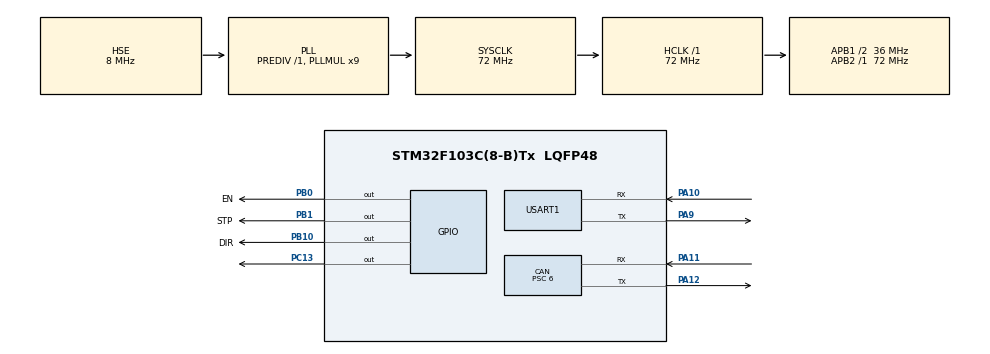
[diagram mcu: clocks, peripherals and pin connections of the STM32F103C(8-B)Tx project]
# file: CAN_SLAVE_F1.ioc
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CAN.BS1=CAN_BS1_2TQ
CAN.BS2=CAN_BS2_3TQ
CAN.CalculateBaudRate=999999
CAN.CalculateTimeBit=1000
CAN.CalculateTimeQuantum=166.66666666666669
CAN.Prescaler=6
Mcu.Family=STM32F1
Mcu.Name=STM32F103C(8-B)Tx
Mcu.Package=LQFP48
NVIC.PriorityGroup=NVIC_PRIORITYGROUP_4
NVIC.TIM2_IRQn=true\:0\:0\:false\:false\:true\:true\:true\:true
NVIC.USART1_IRQn=true\:0\:0\:false\:false\:true\:true\:true\:true
NVIC.USB_LP_CAN1_RX0_IRQn=true\:0\:0\:false\:false\:true\:true\:true\:true
PA0-WKUP.Mode=SYS_WakeUp0
PA0-WKUP.Signal=SYS_WKUP
PA10.Mode=Asynchronous
PA10.Signal=USART1_RX
PA11.Mode=CAN_Activate
PA11.Signal=CAN_RX
PA12.Mode=CAN_Activate
PA12.Signal=CAN_TX
PA13.Mode=Serial_Wire
PA13.Signal=SYS_JTMS-SWDIO
PA14.Mode=Serial_Wire
PA14.Signal=SYS_JTCK-SWCLK
PA9.Mode=Asynchronous
PA9.Signal=USART1_TX
PB0.GPIO_Label=EN
PB0.GPIO_PuPd=GPIO_PULLDOWN
PB0.Signal=GPIO_Output
PB1.GPIO_Label=STP
PB1.GPIO_PuPd=GPIO_PULLDOWN
PB1.Signal=GPIO_Output
PB10.GPIO_Label=DIR
PB10.GPIO_PuPd=GPIO_PULLDOWN
PB10.Signal=GPIO_Output
PC13-TAMPER-RTC.Signal=GPIO_Output
PC14-OSC32_IN.Mode=LSE-External-Oscillator
PC14-OSC32_IN.Signal=RCC_OSC32_IN
PC15-OSC32_OUT.Mode=LSE-External-Oscillator
PC15-OSC32_OUT.Signal=RCC_OSC32_OUT
PD0-OSC_IN.Mode=HSE-External-Oscillator
PD0-OSC_IN.Signal=RCC_OSC_IN
PD1-OSC_OUT.Mode=HSE-External-Oscillator
PD1-OSC_OUT.Signal=RCC_OSC_OUT
ProjectManager.HeapSize=0x200
ProjectManager.StackSize=0x400
ProjectManager.TargetToolchain=STM32CubeIDE
RCC.AHBFreq_Value=72000000
RCC.APB1CLKDivider=RCC_HCLK_DIV2
RCC.APB1Freq_Value=36000000
RCC.APB1TimFreq_Value=72000000
RCC.APB2Freq_Value=72000000
RCC.APB2TimFreq_Value=72000000
RCC.HCLKFreq_Value=72000000
RCC.PLLMUL=RCC_PLL_MUL9
RCC.PLLSourceVirtual=RCC_PLLSOURCE_HSE
RCC.SYSCLKFreq_VALUE=72000000
RCC.SYSCLKSource=RCC_SYSCLKSOURCE_PLLCLK
RCC.USBFreq_Value=72000000
TIM2.Period=999
TIM2.Prescaler=71
TIM4.Prescaler=71
USART1.VirtualMode=VM_ASYNC
VP_TIM2_VS_ClockSourceINT.Mode=Internal
VP_TIM4_VS_ClockSourceINT.Mode=Internal
board=custom

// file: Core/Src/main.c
/* USER CODE BEGIN Header */
/**
 ******************************************************************************
 * @file           : main.c
 * @brief          : Main program body
 ******************************************************************************
 * @attention
 *
 * Copyright (c) 2024 STMicroelectronics.
 * All rights reserved.
 *
 * This software is licensed under terms that can be found in the LICENSE file
 * in the root directory of this software component.
 * If no LICENSE file comes with this software, it is provided AS-IS.
 *
 ******************************************************************************
 */
/* USER CODE END Header */
#include "main.h"

/* USER CODE BEGIN Includes */
#include <stdio.h>
#include <stdbool.h>
#include <string.h>
#include <stdlib.h>
#include <math.h>
#include <time.h>
/* USER CODE END Includes */

CAN_HandleTypeDef hcan;

TIM_HandleTypeDef htim2;
TIM_HandleTypeDef htim4;

UART_HandleTypeDef huart1;

/* USER CODE BEGIN PV */

CAN_TxHeaderTypeDef TxHeader;
CAN_RxHeaderTypeDef RxHeader;
CAN_FilterTypeDef canfilterconfig;

//=============MODE INIT
bool Mode = false; // false: ACservo   true:DC motor
clock_t start, end;
double duration;

//=============MOTOR INIT
#define RatioAC_PtoD 2000*1/360
#define RatioDC_PtoD 45.56424581005592
#define CONTROL_OK 1
#define CONTROL_NOT_OK 0

float oldAngle;
bool Run = false;

uint16_t count = 0;
int32_t pulseSupply = 0;
bool vControl = CONTROL_NOT_OK;

//=============UART INIT
#define TxBufferSize 4  //Transmit Data
#define RxBufferSize 10 //Receive Data Position

#define UART_OK 1
#define UART_NOT_OK 0

uint8_t TxDataUart[TxBufferSize];
uint8_t RxDataUart[RxBufferSize];
int sign;
float Theta = 0;

bool Flag_Uart = UART_OK;
bool readEncoder = 0;

//=============CAN INIT
uint8_t TxData[8]; // DLC = 8
uint8_t CanRxData[8]; // DLC = 8
uint8_t CanTxData[6]; //Tx_Header.DLC = 6 of Slave

char SaveData[8]; // Array receiver 8 bytes from Master (Tx_Header.DLC = 8 of Master)

uint32_t TxMailBox;
bool Flag_slaveSend = false;

//=============TIMER1 INIT (SAMPLE TIME 0.01s)
bool Flag = false;

/* USER CODE END PV */

void SystemClock_Config(void);
static void MX_GPIO_Init(void);
static void MX_CAN_Init(void);
static void MX_TIM2_Init(void);
static void MX_USART1_UART_Init(void);
static void MX_TIM4_Init(void);

/* USER CODE BEGIN 0 */
float sumPulse = 0;
float tmpTheta = 0;
float deltaAngle = 0;
float l_tmpPulse = 0;
//============DECLARE===============

//===========MOTOR_INIT
uint8_t getCheckSum(uint8_t *buffer,uint8_t size)
{
	uint16_t sum=0;
	for(uint8_t i = 0 ;i < size;i++)
	{
		sum += buffer[i];
	}
	return(sum&0xFF);
}
void ReadUart(uint8_t l_sAddress)
{
	TxDataUart[0] = 0xFA;
	TxDataUart[1] = l_sAddress;
	TxDataUart[2] = 0x31; // Position read mode int32 (4 bytes data last)
	TxDataUart[3] = getCheckSum(TxDataUart,TxBufferSize-1);

	HAL_UART_Transmit_IT(&huart1, TxDataUart, TxBufferSize);
}

uint32_t DecodeData(uint8_t *input)
{
	uint32_t readValue = (int32_t)(
			((uint32_t)input[0] << 24)    |
			((uint32_t)input[1] << 16)    |
			((uint32_t)input[2] << 8)     |
			((uint32_t)input[3] << 0));
	return readValue;
}
void Read_Encoder_DC()
{
	ReadUart(1);

	Theta = (float)((1/RatioDC_PtoD)*sign*DecodeData(&RxDataUart[5]));
	//CONVERT AND SEND TO CAN FOR DCMOTOR
	int IntNumber = (int)Theta;
	//Convert to remain 2 decimal number
	float tempNB = Theta-IntNumber;
	tempNB = (tempNB*100)/1;
	//End convert
	int DecNumber = abs(tempNB);

	CanTxData[0] = DecNumber/1%10;
	CanTxData[1] = DecNumber/10%10;

	CanTxData[2] = IntNumber/1%10;
	CanTxData[3] = IntNumber/10%10;
	CanTxData[4] = IntNumber/100%10;

	if(Theta < 0) CanTxData[5] = '-';
	else CanTxData[5] = '+';

}
void delay_us (uint16_t us)
{
	__HAL_TIM_SET_COUNTER(&htim4,0);  // set the counter value a 0
	while (__HAL_TIM_GET_COUNTER(&htim4) < us)
	{
		if(Flag_Uart == UART_OK)
		{
			Read_Encoder_DC();
			Flag_Uart = UART_NOT_OK;
		}
	}
}

void ForwardDC(uint16_t l_pulseIn, uint16_t timeDelay)
{
	HAL_GPIO_WritePin(DIR_GPIO_Port, DIR_Pin, GPIO_PIN_SET);
	for(uint16_t i =0; i < l_pulseIn; i++)
	{
		HAL_GPIO_WritePin(STP_GPIO_Port, STP_Pin, GPIO_PIN_RESET);
		delay_us(timeDelay);
		HAL_GPIO_WritePin(STP_GPIO_Port, STP_Pin, GPIO_PIN_SET);
		delay_us(timeDelay);
	}
}
void InverseDC(uint16_t l_pulseIn, uint16_t timeDelay)
{
	HAL_GPIO_WritePin(DIR_GPIO_Port, DIR_Pin, GPIO_PIN_RESET);
	for(uint16_t i = 0; i < l_pulseIn; i++)
	{
		HAL_GPIO_WritePin(STP_GPIO_Port, STP_Pin, GPIO_PIN_RESET);
		delay_us(timeDelay);
		HAL_GPIO_WritePin(STP_GPIO_Port, STP_Pin, GPIO_PIN_SET);
		delay_us(timeDelay);
	}
}
void DC_Control(float delta)
{
	l_tmpPulse = delta*(818/90);
	sumPulse += l_tmpPulse - (int32_t)l_tmpPulse;
	pulseSupply = l_tmpPulse + (int32_t)sumPulse/1;

	sumPulse -= (int32_t)sumPulse/1;
	if(pulseSupply > 0)
	{
		ForwardDC(abs(pulseSupply),100);
	}
	else
	{
		InverseDC(abs(pulseSupply),100);
	}
}

void HAL_TIM_PeriodElapsedCallback(TIM_HandleTypeDef *htim)
{
	if(htim->Instance == TIM2)
	{
		count++;
		if(count >= 10)
		{
			count=0;
			Flag = true;
		}
		readEncoder=1;
	}
}
//============DECLARE===============
void HAL_UART_RxCpltCallback(UART_HandleTypeDef *huart)
{
	if(HAL_UART_Receive_IT(&huart1, RxDataUart, RxBufferSize) == HAL_OK)
	{
		if(RxDataUart[3] == 255)
		{
			RxDataUart[3] = (~RxDataUart[3]) & 0xFF;
			RxDataUart[4] = (~RxDataUart[4]) & 0xFF;
			RxDataUart[5] = (~RxDataUart[5]) & 0xFF;
			RxDataUart[6] = (~RxDataUart[6]) & 0xFF;
			RxDataUart[7] = (~RxDataUart[7]) & 0xFF;
			RxDataUart[8] = (~RxDataUart[8]) & 0xFF;
			RxDataUart[9] = getCheckSum(RxDataUart, RxBufferSize-1);
			sign = -1;
		}
		else
		{
			sign = 1;
		}
		Flag_Uart = UART_OK;
	}
}
void HAL_CAN_RxFifo0MsgPendingCallback(CAN_HandleTypeDef *hcan)
{
	// Receiving Data
	if(HAL_CAN_GetRxMessage(hcan, CAN_RX_FIFO0, &RxHeader, CanRxData)==HAL_OK)
	{
		if(RxHeader.StdId == 0x001)
		{
			SaveData[0] = CanRxData[0];
			SaveData[1] = CanRxData[1];
			SaveData[2] = CanRxData[2];
			SaveData[3] = CanRxData[3];
			SaveData[4] = CanRxData[4];
			SaveData[5] = CanRxData[5];
			SaveData[6] = CanRxData[6];
			SaveData[7] = CanRxData[7];
		}
	}
  HAL_GPIO_TogglePin(GPIOC, GPIO_PIN_13);
	// if (RxHeader.DLC == 8)
	// {
	// 	HAL_GPIO_TogglePin(GPIOC, GPIO_PIN_13);
	// }
}

/* USER CODE END 0 */

int main(void)
{

  /* MCU Configuration--------------------------------------------------------*/

  /* Reset of all peripherals, Initializes the Flash interface and the Systick. */
  HAL_Init();

  /* Configure the system clock */
  SystemClock_Config();

  /* Initialize all configured peripherals */
  MX_GPIO_Init();
  MX_CAN_Init();
  MX_TIM2_Init();
  MX_USART1_UART_Init();
  MX_TIM4_Init();
  /* USER CODE BEGIN 2 */

	HAL_CAN_Start(&hcan);
	HAL_CAN_ActivateNotification(&hcan, CAN_IT_RX_FIFO0_MSG_PENDING);
	HAL_TIM_Base_Start(&htim4);
	HAL_UART_Receive_IT(&huart1, RxDataUart, RxBufferSize);

	HAL_TIM_Base_Start_IT(&htim2);
	HAL_Delay(100);

  /* USER CODE END 2 */

  /* Infinite loop */
	while (1)
	{

    /* USER CODE BEGIN 3 */

		if(Flag)
		{
			Flag = 0;
			ForwardDC(800,100);
			InverseDC(800,100);
		}
	}
  /* USER CODE END 3 */
}

void SystemClock_Config(void)
{
  RCC_OscInitTypeDef RCC_OscInitStruct = {0};
  RCC_ClkInitTypeDef RCC_ClkInitStruct = {0};

  /** Initializes the RCC Oscillators according to the specified parameters
  * in the RCC_OscInitTypeDef structure.
  */
  RCC_OscInitStruct.OscillatorType = RCC_OSCILLATORTYPE_HSE;
  RCC_OscInitStruct.HSEState = RCC_HSE_ON;
  RCC_OscInitStruct.HSEPredivValue = RCC_HSE_PREDIV_DIV1;
  RCC_OscInitStruct.HSIState = RCC_HSI_ON;
  RCC_OscInitStruct.PLL.PLLState = RCC_PLL_ON;
  RCC_OscInitStruct.PLL.PLLSource = RCC_PLLSOURCE_HSE;
  RCC_OscInitStruct.PLL.PLLMUL = RCC_PLL_MUL9;
  if (HAL_RCC_OscConfig(&RCC_OscInitStruct) != HAL_OK)
  {
    Error_Handler();
  }

  /** Initializes the CPU, AHB and APB buses clocks
  */
  RCC_ClkInitStruct.ClockType = RCC_CLOCKTYPE_HCLK|RCC_CLOCKTYPE_SYSCLK
                              |RCC_CLOCKTYPE_PCLK1|RCC_CLOCKTYPE_PCLK2;
  RCC_ClkInitStruct.SYSCLKSource = RCC_SYSCLKSOURCE_PLLCLK;
  RCC_ClkInitStruct.AHBCLKDivider = RCC_SYSCLK_DIV1;
  RCC_ClkInitStruct.APB1CLKDivider = RCC_HCLK_DIV2;
  RCC_ClkInitStruct.APB2CLKDivider = RCC_HCLK_DIV1;

  if (HAL_RCC_ClockConfig(&RCC_ClkInitStruct, FLASH_LATENCY_2) != HAL_OK)
  {
    Error_Handler();
  }
}

static void MX_CAN_Init(void)
{

  hcan.Instance = CAN1;
  hcan.Init.Prescaler = 6;
  hcan.Init.Mode = CAN_MODE_NORMAL;
  hcan.Init.SyncJumpWidth = CAN_SJW_1TQ;
  hcan.Init.TimeSeg1 = CAN_BS1_2TQ;
  hcan.Init.TimeSeg2 = CAN_BS2_3TQ;
  hcan.Init.TimeTriggeredMode = DISABLE;
  hcan.Init.AutoBusOff = DISABLE;
  hcan.Init.AutoWakeUp = DISABLE;
  hcan.Init.AutoRetransmission = DISABLE;
  hcan.Init.ReceiveFifoLocked = DISABLE;
  hcan.Init.TransmitFifoPriority = DISABLE;
  if (HAL_CAN_Init(&hcan) != HAL_OK)
  {
    Error_Handler();
  }
  /* USER CODE BEGIN CAN_Init 2 */

	CAN_FilterTypeDef canfilterconfig;

	// Configurating CAN Filter
	canfilterconfig.FilterActivation = CAN_FILTER_ENABLE;
	canfilterconfig.FilterBank = 1;
	canfilterconfig.FilterFIFOAssignment = CAN_RX_FIFO0;
	canfilterconfig.FilterIdHigh = 0x001<<5;
	canfilterconfig.FilterIdLow = 0x000;
	canfilterconfig.FilterMaskIdHigh = 0xffe<<5;
	canfilterconfig.FilterMaskIdLow = 0x000;
	canfilterconfig.FilterMode = CAN_FILTERMODE_IDMASK;
	canfilterconfig.FilterScale = CAN_FILTERSCALE_32BIT;
	canfilterconfig.SlaveStartFilterBank = 1;

	TxHeader.DLC = 6;
	TxHeader.IDE = CAN_ID_STD;
	TxHeader.RTR = CAN_RTR_DATA;

	if(HAL_CAN_ConfigFilter(&hcan, &canfilterconfig) != HAL_OK)
	{
		Error_Handler();
	}

  /* USER CODE END CAN_Init 2 */

}

static void MX_TIM2_Init(void)
{

  TIM_ClockConfigTypeDef sClockSourceConfig = {0};
  TIM_MasterConfigTypeDef sMasterConfig = {0};

  htim2.Instance = TIM2;
  htim2.Init.Prescaler = 71;
  htim2.Init.CounterMode = TIM_COUNTERMODE_UP;
  htim2.Init.Period = 999;
  htim2.Init.ClockDivision = TIM_CLOCKDIVISION_DIV1;
  htim2.Init.AutoReloadPreload = TIM_AUTORELOAD_PRELOAD_DISABLE;
  if (HAL_TIM_Base_Init(&htim2) != HAL_OK)
  {
    Error_Handler();
  }
  sClockSourceConfig.ClockSource = TIM_CLOCKSOURCE_INTERNAL;
  if (HAL_TIM_ConfigClockSource(&htim2, &sClockSourceConfig) != HAL_OK)
  {
    Error_Handler();
  }
  sMasterConfig.MasterOutputTrigger = TIM_TRGO_RESET;
  sMasterConfig.MasterSlaveMode = TIM_MASTERSLAVEMODE_DISABLE;
  if (HAL_TIMEx_MasterConfigSynchronization(&htim2, &sMasterConfig) != HAL_OK)
  {
    Error_Handler();
  }

}

static void MX_TIM4_Init(void)
{

  TIM_ClockConfigTypeDef sClockSourceConfig = {0};
  TIM_MasterConfigTypeDef sMasterConfig = {0};

  htim4.Instance = TIM4;
  htim4.Init.Prescaler = 71;
  htim4.Init.CounterMode = TIM_COUNTERMODE_UP;
  htim4.Init.Period = 65535;
  htim4.Init.ClockDivision = TIM_CLOCKDIVISION_DIV1;
  htim4.Init.AutoReloadPreload = TIM_AUTORELOAD_PRELOAD_DISABLE;
  if (HAL_TIM_Base_Init(&htim4) != HAL_OK)
  {
    Error_Handler();
  }
  sClockSourceConfig.ClockSource = TIM_CLOCKSOURCE_INTERNAL;
  if (HAL_TIM_ConfigClockSource(&htim4, &sClockSourceConfig) != HAL_OK)
  {
    Error_Handler();
  }
  sMasterConfig.MasterOutputTrigger = TIM_TRGO_RESET;
  sMasterConfig.MasterSlaveMode = TIM_MASTERSLAVEMODE_DISABLE;
  if (HAL_TIMEx_MasterConfigSynchronization(&htim4, &sMasterConfig) != HAL_OK)
  {
    Error_Handler();
  }

}

static void MX_USART1_UART_Init(void)
{

  huart1.Instance = USART1;
  huart1.Init.BaudRate = 115200;
  huart1.Init.WordLength = UART_WORDLENGTH_8B;
  huart1.Init.StopBits = UART_STOPBITS_1;
  huart1.Init.Parity = UART_PARITY_NONE;
  huart1.Init.Mode = UART_MODE_TX_RX;
  huart1.Init.HwFlowCtl = UART_HWCONTROL_NONE;
  huart1.Init.OverSampling = UART_OVERSAMPLING_16;
  if (HAL_UART_Init(&huart1) != HAL_OK)
  {
    Error_Handler();
  }

}

static void MX_GPIO_Init(void)
{
  GPIO_InitTypeDef GPIO_InitStruct = {0};

  /* GPIO Ports Clock Enable */
  __HAL_RCC_GPIOC_CLK_ENABLE();
  __HAL_RCC_GPIOD_CLK_ENABLE();
  __HAL_RCC_GPIOA_CLK_ENABLE();
  __HAL_RCC_GPIOB_CLK_ENABLE();

  /*Configure GPIO pin Output Level */
  HAL_GPIO_WritePin(GPIOC, GPIO_PIN_13, GPIO_PIN_RESET);

  /*Configure GPIO pin Output Level */
  HAL_GPIO_WritePin(GPIOB, EN_Pin|STP_Pin|DIR_Pin, GPIO_PIN_RESET);

  /*Configure GPIO pin : PC13 */
  GPIO_InitStruct.Pin = GPIO_PIN_13;
  GPIO_InitStruct.Mode = GPIO_MODE_OUTPUT_PP;
  GPIO_InitStruct.Pull = GPIO_NOPULL;
  GPIO_InitStruct.Speed = GPIO_SPEED_FREQ_LOW;
  HAL_GPIO_Init(GPIOC, &GPIO_InitStruct);

  /*Configure GPIO pins : EN_Pin STP_Pin DIR_Pin */
  GPIO_InitStruct.Pin = EN_Pin|STP_Pin|DIR_Pin;
  GPIO_InitStruct.Mode = GPIO_MODE_OUTPUT_PP;
  GPIO_InitStruct.Pull = GPIO_PULLDOWN;
  GPIO_InitStruct.Speed = GPIO_SPEED_FREQ_LOW;
  HAL_GPIO_Init(GPIOB, &GPIO_InitStruct);

}

void Error_Handler(void)
{
	__disable_irq();
	while (1)
	{
	}
}
